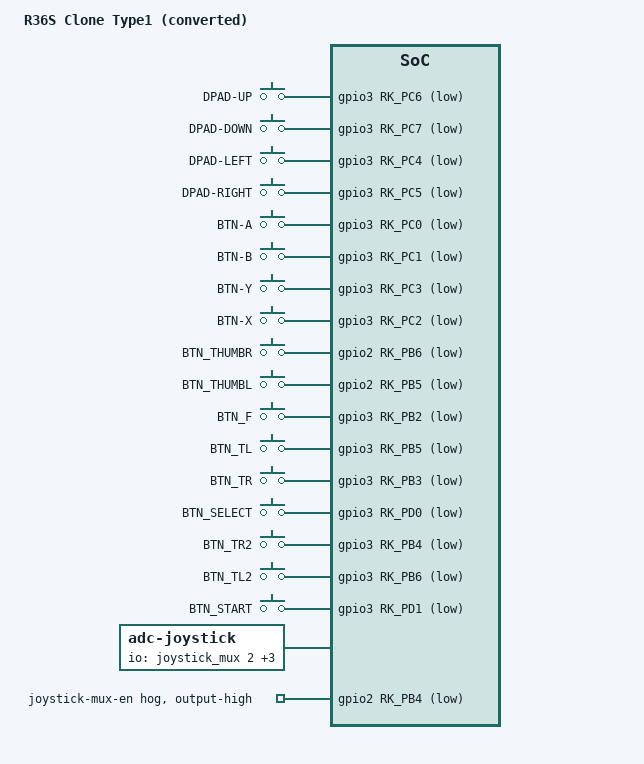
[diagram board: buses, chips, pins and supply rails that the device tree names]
// SPDX-License-Identifier: (GPL-2.0+ OR MIT)
/*
 * R36S Clone Type1, converted from a vendor RK3326 device tree by
 * `r36os dtb import` (boot-dtb-select D12). Do not edit: import again.
 * Source: arkos4clone/boot/dArkOS/consoles/clone type1 panel1 invert/rk3326-r36s-type1-panel1-invert-linux.dtb
 * SHA-256: d84db7762f64621970a89f64cef2b3c2558edd785b324e500b26879ed17e4e00
 * Note: sticks: axes from the ROCKNIX joypad mapping, not measured
 * Note: speaker gain: source spk-volume 3 ignored, the native safe value is used
 */

#include "rk3326-r36s-v5.dts"

/ {
	model = "R36S Clone Type1 (converted)";

	lume-select {
		lume,id = "arkos4clone-clone-type1-panel1-invert-r36s-type1-panel1";
		lume,priority = <0>;
		/delete-property/ lume,default;
	};

	/delete-node/ gpio-keys;
	/delete-node/ volume-keys;

	gpio-keys {
		compatible = "gpio-keys";
		pinctrl-names = "default";
		pinctrl-0 = <&btn_pins>;

		button-dpad-up {
			gpios = <&gpio3 RK_PC6 GPIO_ACTIVE_LOW>;
			label = "DPAD-UP";
			linux,code = <0x220>;
		};

		button-dpad-down {
			gpios = <&gpio3 RK_PC7 GPIO_ACTIVE_LOW>;
			label = "DPAD-DOWN";
			linux,code = <0x221>;
		};

		button-dpad-left {
			gpios = <&gpio3 RK_PC4 GPIO_ACTIVE_LOW>;
			label = "DPAD-LEFT";
			linux,code = <0x222>;
		};

		button-dpad-right {
			gpios = <&gpio3 RK_PC5 GPIO_ACTIVE_LOW>;
			label = "DPAD-RIGHT";
			linux,code = <0x223>;
		};

		button-btn-a {
			gpios = <&gpio3 RK_PC0 GPIO_ACTIVE_LOW>;
			label = "BTN-A";
			linux,code = <0x131>;
		};

		button-btn-b {
			gpios = <&gpio3 RK_PC1 GPIO_ACTIVE_LOW>;
			label = "BTN-B";
			linux,code = <0x130>;
		};

		button-btn-y {
			gpios = <&gpio3 RK_PC3 GPIO_ACTIVE_LOW>;
			label = "BTN-Y";
			linux,code = <0x134>;
		};

		button-btn-x {
			gpios = <&gpio3 RK_PC2 GPIO_ACTIVE_LOW>;
			label = "BTN-X";
			linux,code = <0x133>;
		};

		button-btn-thumbr {
			gpios = <&gpio2 RK_PB6 GPIO_ACTIVE_LOW>;
			label = "BTN_THUMBR";
			linux,code = <0x2c3>;
		};

		button-btn-thumbl {
			gpios = <&gpio2 RK_PB5 GPIO_ACTIVE_LOW>;
			label = "BTN_THUMBL";
			linux,code = <0x2c2>;
		};

		button-btn-f {
			gpios = <&gpio3 RK_PB2 GPIO_ACTIVE_LOW>;
			label = "BTN_F";
			linux,code = <0x2c4>;
		};

		button-btn-tl {
			gpios = <&gpio3 RK_PB5 GPIO_ACTIVE_LOW>;
			label = "BTN_TL";
			linux,code = <0x136>;
		};

		button-btn-tr {
			gpios = <&gpio3 RK_PB3 GPIO_ACTIVE_LOW>;
			label = "BTN_TR";
			linux,code = <0x137>;
		};

		button-btn-select {
			gpios = <&gpio3 RK_PD0 GPIO_ACTIVE_LOW>;
			label = "BTN_SELECT";
			linux,code = <0x2c0>;
		};

		button-btn-tr2 {
			gpios = <&gpio3 RK_PB4 GPIO_ACTIVE_LOW>;
			label = "BTN_TR2";
			linux,code = <0x139>;
		};

		button-btn-tl2 {
			gpios = <&gpio3 RK_PB6 GPIO_ACTIVE_LOW>;
			label = "BTN_TL2";
			linux,code = <0x138>;
		};

		button-btn-start {
			gpios = <&gpio3 RK_PD1 GPIO_ACTIVE_LOW>;
			label = "BTN_START";
			linux,code = <0x2c1>;
		};
	};

	/delete-node/ adc-joystick;

	adc-joystick {
		compatible = "adc-joystick";
		io-channels = <&joystick_mux 2>,
			      <&joystick_mux 0>,
			      <&joystick_mux 1>,
			      <&joystick_mux 3>;
		poll-interval = <10>;
		#address-cells = <1>;
		#size-cells = <0>;

		axis@0 {
			reg = <0>;
			abs-flat = <32>;
			abs-fuzz = <32>;
			abs-range = <1023 0>;
			linux,code = <ABS_RY>;
		};

		axis@1 {
			reg = <1>;
			abs-flat = <32>;
			abs-fuzz = <32>;
			abs-range = <1023 0>;
			linux,code = <ABS_RX>;
		};

		axis@2 {
			reg = <2>;
			abs-flat = <32>;
			abs-fuzz = <32>;
			abs-range = <1023 0>;
			linux,code = <ABS_Y>;
		};

		axis@3 {
			reg = <3>;
			abs-flat = <32>;
			abs-fuzz = <32>;
			abs-range = <1023 0>;
			linux,code = <ABS_X>;
		};
	};

	mux-controller {
		mux-gpios = <&gpio2 RK_PC0 GPIO_ACTIVE_LOW>,
			    <&gpio2 RK_PB7 GPIO_ACTIVE_LOW>;
	};

	adc-mux {
		io-channels = <&saradc 1>;
	};

	/delete-node/ gpio-leds;

	rk817-sound {
		simple-audio-card,hp-det-gpios = <&gpio2 RK_PC6 GPIO_ACTIVE_LOW>;
	};
};

&internal_display {
	compatible = "rocknix,generic-dsi";
	/delete-property/ vcc-supply;
	vdd-supply = <&vcc_lcd>;
	reset-gpios = <&gpio3 RK_PB7 GPIO_ACTIVE_LOW>;
	enable-gpios = <&gpio0 RK_PB5 GPIO_ACTIVE_HIGH>;
	panel_description =
		"G size=153,85 delays=20,20,20,120,20 format=rgb888 lanes=4 flags=0xe03",
		"M clock=30000 horizontal=640,150,50,150 vertical=480,20,6,12 default=1",
		"M clock=30000 horizontal=640,150,40,135 vertical=480,20,6,12",
		"I seq=b9f11283",
		"I seq=b1000000da80",
		"I seq=b2001370",
		"I seq=b31010282803ff00000000",
		"I seq=b480",
		"I seq=b50a0a",
		"I seq=b68282",
		"I seq=b82662f063",
		"I seq=ba338105f90e0e2000000000000000442500900a0000014f01000037",
		"I seq=bc47",
		"I seq=bf021100",
		"I seq=c0737350500000125000",
		"I seq=c15300323277d1cccc77773333",
		"I seq=c68200bfff00ff",
		"I seq=c7b8000a000000",
		"I seq=c810401e02",
		"I seq=cc0b",
		"I seq=e000070d37353f4144060c0d0f111012141a00070d37353f4144060c0d0f111012141a",
		"I seq=e307070b0b0b0b00000000ff00c010",
		"I seq=e9c810020000b0b11131232880b0b127080004020000000004020000008888ba60240888888888888888ba713518888888888800000001000000000000000000",
		"I seq=ea970a820203070000000000008188ba17538888888888888088ba0642888888888888230000028000000000000000000000000000000000000000000000",
		"I seq=efffff01",
		"I seq=11 wait=c8",
		"I seq=29 wait=14";
};

&dsi {
	/delete-property/ rockchip,lane-rate;
	/delete-property/ rockchip,phy-hstt;
};

&backlight {
	pwms = <&pwm1 0 25000 0>;
	/delete-property/ num-interpolated-steps;
	brightness-levels = <0 1 2 3 4 5 6 7 8 9 10 11 12 13 14 15 16 17 18 19 20 21 22 23 24 25 26 27 28 29 30 31 32 33 34 35 36 37 38 39 40 41 42 43 44 45 46 47 48 49 50 51 52 53 54 55 56 57 58 59 60 61 62 63 64 65 66 67 68 69 70 71 72 73 74 75 76 77 78 79 80 81 82 83 84 85 86 87 88 89 90 91 92 93 94 95 96 97 98 99 100 101 102 103 104 105 106 107 108 109 110 111 112 113 114 115 116 117 118 119 120 121 122 123 124 125 126 127 128 129 130 131 132 133 134 135 136 137 138 139 140 141 142 143 144 145 146 147 148 149 150 151 152 153 154 155 156 157 158 159 160 161 162 163 164 165 166 167 168 169 170 171 172 173 174 175 176 177 178 179 180 181 182 183 184 185 186 187 188 189 190 191 192 193 194 195 196 197 198 199 200 201 202 203 204 205 206 207 208 209 210 211 212 213 214 215 216 217 218 219 220 221 222 223 224 225 226 227 228 229 230 231 232 233 234 235 236 237 238 239 240 241 242 243 244 245 246 247 248 249 250 251 252 253 254 255>;
	default-brightness-level = <200>;
};

&battery {
	charge-full-design-microamp-hours = <2808000>;
	voltage-max-design-microvolt = <4046000>;
	voltage-min-design-microvolt = <3300000>;
	ocv-capacity-table-0 = <4046000 100>,
				<4001000 95>,
				<3967000 90>,
				<3940000 85>,
				<3910000 80>,
				<3870000 75>,
				<3830000 70>,
				<3790000 65>,
				<3750000 60>,
				<3720000 55>,
				<3690000 50>,
				<3650000 45>,
				<3610000 40>,
				<3570000 35>,
				<3540000 30>,
				<3500000 25>,
				<3460000 20>,
				<3420000 15>,
				<3380000 10>,
				<3340000 5>,
				<3300000 0>;
};

&spk_amp {
	/delete-property/ enable-gpios;
	/delete-property/ pinctrl-names;
	/delete-property/ pinctrl-0;
};

&rk817 {
	interrupt-parent = <&gpio0>;
	interrupts = <RK_PB2 IRQ_TYPE_LEVEL_LOW>;
};

&gpio0 {
	/delete-node/ joystick-mux-en-hog;
};

&gpio1 {
	/delete-node/ lcd-enable-hog;
};

&gpio2 {
	joystick-mux-en-hog {
		gpio-hog;
		gpios = <RK_PB4 GPIO_ACTIVE_LOW>;
		output-high;
		line-name = "joystick-mux-en";
	};
};

&gpio3 {
	/delete-node/ lcd-stbyb-hog;
};

&btn_pins {
	rockchip,pins =
		<3 RK_PC6 RK_FUNC_GPIO &pcfg_pull_up>,
		<3 RK_PC7 RK_FUNC_GPIO &pcfg_pull_up>,
		<3 RK_PC4 RK_FUNC_GPIO &pcfg_pull_up>,
		<3 RK_PC5 RK_FUNC_GPIO &pcfg_pull_up>,
		<3 RK_PC0 RK_FUNC_GPIO &pcfg_pull_up>,
		<3 RK_PC1 RK_FUNC_GPIO &pcfg_pull_up>,
		<3 RK_PC3 RK_FUNC_GPIO &pcfg_pull_up>,
		<3 RK_PC2 RK_FUNC_GPIO &pcfg_pull_up>,
		<2 RK_PB6 RK_FUNC_GPIO &pcfg_pull_up>,
		<2 RK_PB5 RK_FUNC_GPIO &pcfg_pull_up>,
		<3 RK_PB2 RK_FUNC_GPIO &pcfg_pull_up>,
		<3 RK_PB5 RK_FUNC_GPIO &pcfg_pull_up>,
		<3 RK_PB3 RK_FUNC_GPIO &pcfg_pull_up>,
		<3 RK_PD0 RK_FUNC_GPIO &pcfg_pull_up>,
		<3 RK_PB4 RK_FUNC_GPIO &pcfg_pull_up>,
		<3 RK_PB6 RK_FUNC_GPIO &pcfg_pull_up>,
		<3 RK_PD1 RK_FUNC_GPIO &pcfg_pull_up>;
};

&hp_det {
	rockchip,pins = <2 RK_PC6 RK_FUNC_GPIO &pcfg_pull_none>;
};

&pmic_int {
	rockchip,pins = <0 RK_PB2 RK_FUNC_GPIO &pcfg_pull_up>;
};
